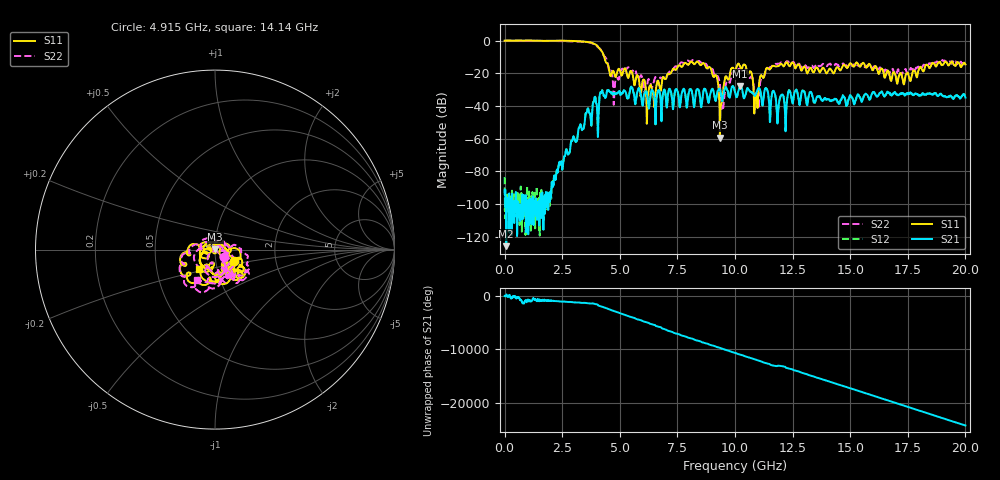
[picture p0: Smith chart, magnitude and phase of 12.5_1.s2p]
#  HZ  S  RI  R  50.00
! Rohde & Schwarz Vector Network Analyzer
! Rohde-Schwarz,ZNB20-2Port,1311601062102128,3.60
! Created: UTC 4/29/2024, 2:56:37 PM
! freq[Hz]  re:S11  im:S11  re:S21  im:S21  re:S12  im:S12  re:S22  im:S22
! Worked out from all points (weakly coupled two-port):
!   2007 points, 100 kHz to 20 GHz, reference 50 ohm
!   highest |S21| = -27.70 dB at 10.22 GHz (marker M1); lowest = -125.7 dB at 69.89 MHz (marker M2)
!   lowest |S11| = -59.3 dB at 9.342 GHz (marker M3), VSWR 1.00, Z = 50 + j0.101 ohm
!   |S11| at or under -10 dB: 4.326 GHz to end of sweep
!   |S22| runs from -41.8 to 0.1 dB; largest |S21 - S12| = 0.0021
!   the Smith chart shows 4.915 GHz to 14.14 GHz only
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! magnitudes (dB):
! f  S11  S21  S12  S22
! 100 kHz  0.0  -91.4  -83.4  0.1
! 69.89 MHz  0.0  -125.7  -95.3  0.0
! 2.213 GHz  -0.1  -85.1  -83.4  -0.3
! 3.34 GHz  -0.6  -53.9  -53.6  -0.6
! 4.158 GHz  -5.5  -31.9  -31.5  -5.2
! 4.776 GHz  -20.7  -32.3  -32.3  -28.7
! 5.354 GHz  -22.8  -35.3  -35.2  -16.4
! 6.211 GHz  -35.0  -35.8  -35.8  -24.9
! 6.67 GHz  -24.8  -30.3  -30.3  -26.5
! 8.375 GHz  -12.8  -29.5  -29.5  -12.9
! 9.173 GHz  -21.2  -36.4  -36.4  -22.5
! 9.342 GHz  -59.3  -30.2  -30.2  -26.8
! 9.482 GHz  -32.2  -34.1  -34.1  -40.7
! 10 GHz  -18.8  -31.5  -31.4  -19.5
! 10.22 GHz  -15.8  -27.7  -27.7  -17.0
! 10.69 GHz  -19.0  -31.4  -31.4  -22.1
! 10.91 GHz  -33.5  -32.7  -32.7  -36.4
! 11.42 GHz  -16.7  -30.9  -30.9  -16.9
! 11.86 GHz  -15.7  -45.8  -45.9  -14.1
! 13.34 GHz  -18.0  -32.8  -32.8  -15.3
! 16.67 GHz  -19.1  -31.8  -31.7  -20.5
! 20 GHz  -14.6  -34.9  -34.9  -14.4
